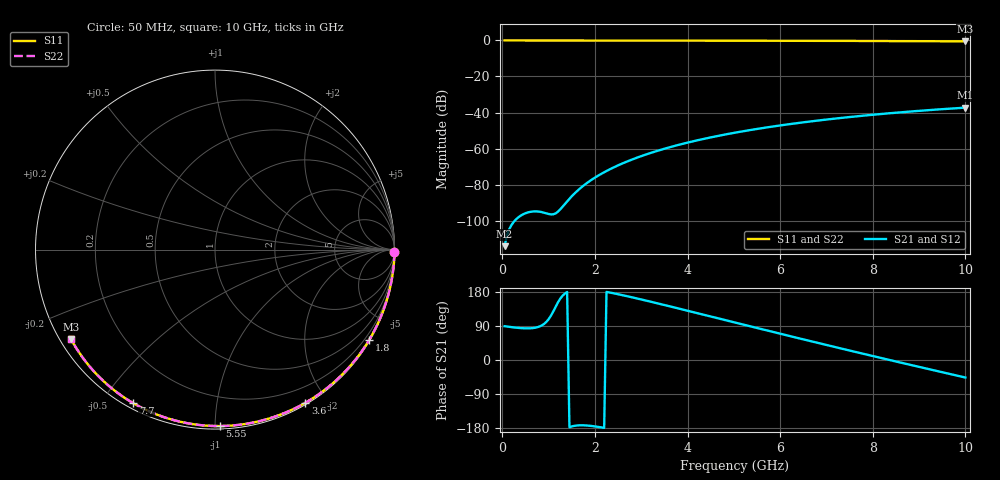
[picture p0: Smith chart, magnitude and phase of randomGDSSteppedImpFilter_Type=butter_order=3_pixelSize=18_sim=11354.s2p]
! freq	dB(S11)	phase(S11)	dB(S12)	phase(S12)
!  dB(S21)	phase(S21)	dB(S22)	phase(S22)
!S-par simulation data
#  GHz  S  DB  R 50
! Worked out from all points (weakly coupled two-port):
!   200 points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, 50 MHz to 10 GHz, reference 50 ohm
!   highest |S21| = -37.29 dB at 10 GHz (marker M1); lowest = -114.2 dB at 50 MHz (marker M2)
!   lowest |S11| = -0.5 dB at 10 GHz (marker M3), VSWR 35.00, Z = 1.54 - j14.2 ohm
!   |S11| at or under -10 dB: nowhere
!   |S22| runs from -0.5 to 0.0 dB; largest |S21 - S12| = 0
!   S11 on the Smith chart (normalised r, x): 50 MHz: open; 1.8 GHz: 0.03, -3.67; 3.6 GHz: 0.02, -1.75; 5.55 GHz: 0.02, -1.03; 7.7 GHz: 0.02, -0.60; 10 GHz: 0.03, -0.28
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0.05  -0.00 -0.9  -114.20 89.1  -114.20 89.1  -0.00 -0.9
0.45  -0.01 -7.7  -96.48 83.8  -96.48 83.8  -0.01 -7.7
0.9  -0.02 -15.4  -95.60 95.0  -95.60 95.0  -0.02 -15.4
1.3  -0.03 -22.2  -92.33 169.4  -92.33 169.4  -0.03 -22.2
1.75  -0.04 -29.7  -80.66 -172.4  -80.66 -172.4  -0.04 -29.7
1.8  -0.04 -30.5  -79.67 -172.7  -79.67 -172.7  -0.04 -30.5
1.95  -0.04 -33.0  -76.97 -174.4  -76.97 -174.4  -0.04 -33.0
2.1  -0.05 -35.5  -74.60 -177.0  -74.60 -177.0  -0.05 -35.5
2.3  -0.05 -38.7  -71.80 178.6  -71.80 178.6  -0.05 -38.7
2.5  -0.05 -42.0  -69.34 173.6  -69.34 173.6  -0.05 -42.0
2.9  -0.06 -48.4  -65.14 162.7  -65.14 162.7  -0.06 -48.4
3.4  -0.07 -56.4  -60.87 148.1  -60.87 148.1  -0.07 -56.4
3.6  -0.08 -59.5  -59.38 142.1  -59.38 142.1  -0.08 -59.5
4.3  -0.10 -70.2  -54.92 121.0  -54.92 121.0  -0.10 -70.2
5.05  -0.12 -81.3  -51.08 98.1  -51.08 98.1  -0.12 -81.3
5.55  -0.14 -88.5  -48.91 83.0  -48.91 83.0  -0.14 -88.5
6.1  -0.17 -96.3  -46.82 66.4  -46.82 66.4  -0.17 -96.3
6.7  -0.20 -104.6  -44.81 48.5  -44.81 48.5  -0.20 -104.6
7.7  -0.27 -118.0  -41.99 19.1  -41.99 19.1  -0.27 -118.0
8.35  -0.32 -126.6  -40.44 0.3  -40.44 0.3  -0.32 -126.6
9.2  -0.41 -137.7  -38.69 -23.8  -38.69 -23.8  -0.41 -137.7
10  -0.50 -148.2  -37.29 -46.2  -37.29 -46.2  -0.50 -148.2
